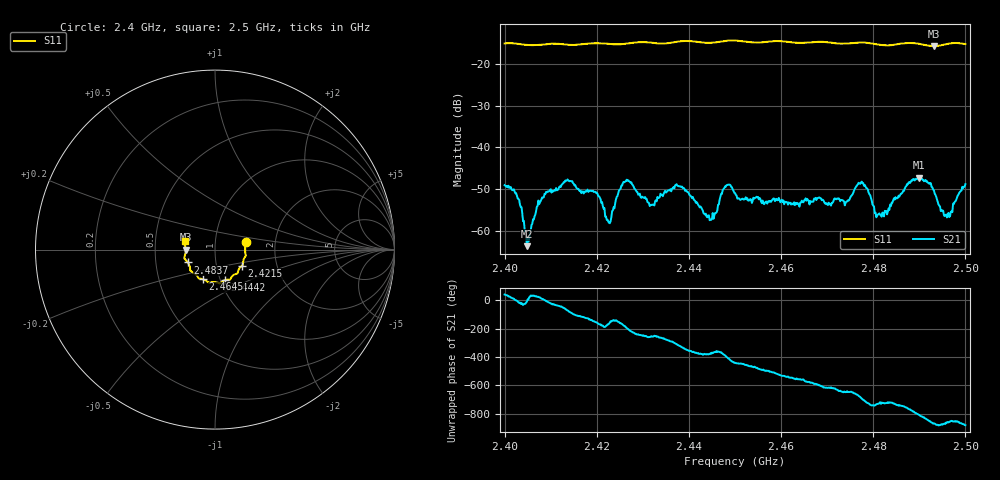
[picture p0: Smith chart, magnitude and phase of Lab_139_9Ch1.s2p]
# Hz S RI R 50
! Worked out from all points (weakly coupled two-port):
!   601 points, 2.4 GHz to 2.5 GHz, reference 50 ohm
!   highest |S21| = -47.28 dB at 2.4898 GHz (marker M1); lowest = -63.7 dB at 2.4048 GHz (marker M2)
!   lowest |S11| = -15.7 dB at 2.4932 GHz (marker M3), VSWR 1.39, Z = 35.9 - j0.0516 ohm
!   |S11| at or under -10 dB: start of sweep to end of sweep
!   S12 and S22 are empty: the file has one direction only
!   S11 on the Smith chart (normalised r, x): 2.4 GHz: 1.41, +0.12; 2.4215 GHz: 1.33, -0.25; 2.4442 GHz: 1.05, -0.37; 2.4645 GHz: 0.83, -0.29; 2.4837 GHz: 0.73, -0.11; 2.5 GHz: 0.71, +0.07
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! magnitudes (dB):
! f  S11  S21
! 2.4 GHz  -15.1  -49.0
! 2.4027 GHz  -15.2  -51.6
! 2.4048 GHz  -15.5  -63.7
! 2.4092 GHz  -15.3  -50.8
! 2.4167 GHz  -15.3  -51.0
! 2.4215 GHz  -15.1  -54.7
! 2.4227 GHz  -15.2  -58.1
! 2.4263 GHz  -15.2  -48.1
! 2.4333 GHz  -15.1  -52.2
! 2.4377 GHz  -14.6  -49.3
! 2.4442 GHz  -15.0  -56.3
! 2.45 GHz  -14.4  -51.0
! 2.4645 GHz  -15.0  -52.8
! 2.4667 GHz  -14.8  -53.0
! 2.4773 GHz  -14.9  -48.5
! 2.4808 GHz  -15.3  -56.3
! 2.4833 GHz  -15.6  -54.7
! 2.4837 GHz  -15.5  -53.7
! 2.4898 GHz  -15.2  -47.3
! 2.4932 GHz  -15.7  -50.3
! 2.4962 GHz  -15.2  -56.4
! 2.5 GHz  -15.3  -48.8
